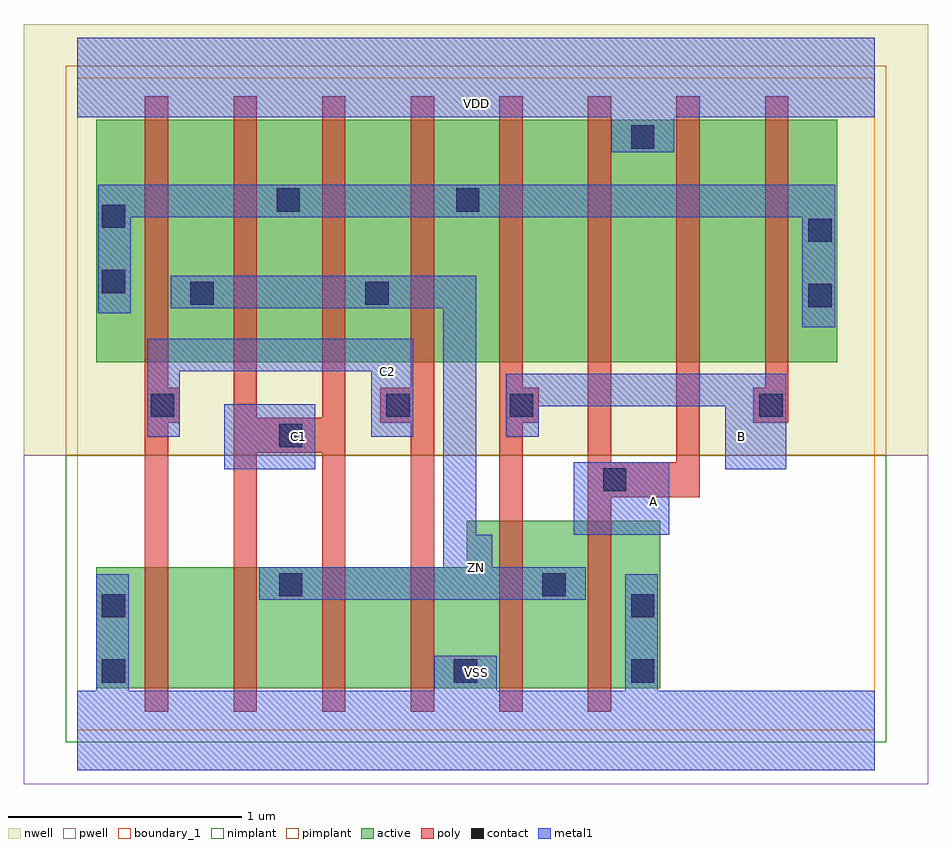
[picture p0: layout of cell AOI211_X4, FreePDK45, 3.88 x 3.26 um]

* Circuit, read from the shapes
.subckt AOI211_X4 A B C1 C2 VDD VSS ZN
M1 n1 C2 VSS VSUBS nfet w=0.52u l=0.1u
M2 ZN C1 n1 VSUBS nfet w=0.52u l=0.1u
M3 n2 C1 ZN VSUBS nfet w=0.52u l=0.1u
M4 VSS C2 n2 VSUBS nfet w=0.52u l=0.1u
M5 ZN B VSS VSUBS nfet w=0.72u l=0.1u
M6 VSS A ZN VSUBS nfet w=0.72u l=0.1u
M7 ZN C2 n3 n4 pfet w=1.04u l=0.1u m=2
M8 n3 C1 ZN n4 pfet w=1.04u l=0.1u m=2
M9 n5 B n3 n4 pfet w=1.04u l=0.1u
M10 VDD A n5 n4 pfet w=1.04u l=0.1u
M11 n6 A VDD n4 pfet w=1.04u l=0.1u
M12 n3 B n6 n4 pfet w=1.04u l=0.1u
.ends

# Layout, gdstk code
import gdstk
lib = gdstk.Library(unit=1e-6, precision=1e-09)
def R(c, l, rs):  # rectangles x0, y0, x1, y1
    for r in rs: c.add(gdstk.rectangle(r[:2], r[2:], *l))
def P(c, l, *ps):  # polygons
    for p in ps: c.add(gdstk.Polygon(p, *l))
active = (1, 0)
pwell = (2, 0)
nwell = (3, 0)
nimplant = (4, 0)
pimplant = (5, 0)
poly = (9, 0)
contact = (10, 0)
metal1 = (11, 0)
boundary_1 = (235, 1)

aoi211_x4 = lib.new_cell('AOI211_X4')
R(aoi211_x4, active, [(0.08,1.58,3.26,2.62)])
P(aoi211_x4, active, [(0.08,0.18),(2.5,0.18),(2.5,0.9),(1.67,0.9),(1.67,0.7),(0.08,0.7)])
R(aoi211_x4, pwell, [(-0.23,-0.23,3.65,1.18)])
R(aoi211_x4, nwell, [(-0.23,1.18,3.65,3.03)])
R(aoi211_x4, nimplant, [(-0.05,-0.05,3.47,1.18)])
R(aoi211_x4, pimplant, [(-0.05,1.18,3.47,2.85)])
P(aoi211_x4, poly, [(2.9,1.32),(3.05,1.32),(3.05,2.72),(2.95,2.72),(2.95,1.47),(2.9,1.47)],
  [(2.19,0.08),(2.29,0.08),(2.29,1),(2.67,1),(2.67,2.72),(2.57,2.72),(2.57,1.15),(2.29,1.15),(2.29,2.72),(2.19,2.72)],
  [(1.81,0.08),(1.91,0.08),(1.91,1.32),(1.98,1.32),(1.98,1.47),(1.91,1.47),(1.91,2.72),(1.81,2.72)],
  [(1.3,1.32),(1.43,1.32),(1.43,0.08),(1.53,0.08),(1.53,2.72),(1.43,2.72),(1.43,1.47),(1.3,1.47)],
  [(0.67,0.08),(0.77,0.08),(0.77,1.19),(1.05,1.19),(1.05,0.08),(1.15,0.08),(1.15,2.72),(1.05,2.72),(1.05,1.34),(0.77,1.34),(0.77,2.72),(0.67,2.72)],
  [(0.29,0.08),(0.39,0.08),(0.39,1.32),(0.44,1.32),(0.44,1.47),(0.39,1.47),(0.39,2.72),(0.29,2.72)])
R(aoi211_x4, contact, [(0.105,0.205,0.205,0.305), (1.615,0.205,1.715,0.305), (2.375,0.205,2.475,0.305), (0.105,0.485,0.205,0.585), (2.375,0.485,2.475,0.585), (0.865,0.575,0.965,0.675), (1.995,0.575,2.095,0.675), (2.255,1.025,2.355,1.125), (0.865,1.215,0.965,1.315), (0.315,1.345,0.415,1.445), (1.325,1.345,1.425,1.445), (1.855,1.345,1.955,1.445), (2.925,1.345,3.025,1.445), (3.135,1.815,3.235,1.915), (0.485,1.825,0.585,1.925), (1.235,1.825,1.335,1.925), (0.105,1.875,0.205,1.975), (3.135,2.095,3.235,2.195), (0.105,2.155,0.205,2.255), (0.855,2.225,0.955,2.325), (1.625,2.225,1.725,2.325), (2.375,2.495,2.475,2.595)])
R(aoi211_x4, metal1, [(2.13,0.84,2.54,1.15), (2.13,0.84,2.54,1.15), (0.63,1.12,1.02,1.4), (0.63,1.12,1.02,1.4)])
P(aoi211_x4, metal1, [(0.3,1.26),(0.44,1.26),(0.44,1.54),(1.26,1.54),(1.26,1.26),(1.44,1.26),(1.44,1.68),(0.3,1.68)],
  [(0.4,1.81),(1.57,1.81),(1.57,0.7),(0.78,0.7),(0.78,0.56),(2.18,0.56),(2.18,0.7),(1.78,0.7),(1.78,0.84),(1.71,0.84),(1.71,1.95),(0.4,1.95)],
  [(1.84,1.26),(1.98,1.26),(1.98,1.39),(2.78,1.39),(2.78,1.12),(3.04,1.12),(3.04,1.53),(1.84,1.53)],
  [(0,-0.17),(3.42,-0.17),(3.42,0.17),(2.49,0.17),(2.49,0.67),(2.35,0.67),(2.35,0.17),(1.8,0.17),(1.8,0.32),(1.53,0.32),(1.53,0.17),(0.22,0.17),(0.22,0.67),(0.08,0.67),(0.08,0.17),(0,0.17)],
  [(0,2.63),(2.29,2.63),(2.29,2.48),(2.56,2.48),(2.56,2.63),(3.42,2.63),(3.42,2.97),(0,2.97)],
  [(0,2.63),(2.29,2.63),(2.29,2.48),(2.56,2.48),(2.56,2.63),(3.42,2.63),(3.42,2.97),(0,2.97)],
  [(0,-0.17),(3.42,-0.17),(3.42,0.17),(2.49,0.17),(2.49,0.67),(2.35,0.67),(2.35,0.17),(1.8,0.17),(1.8,0.32),(1.53,0.32),(1.53,0.17),(0.22,0.17),(0.22,0.67),(0.08,0.67),(0.08,0.17),(0,0.17)],
  [(0.09,1.79),(0.23,1.79),(0.23,2.2),(3.11,2.2),(3.11,1.73),(3.25,1.73),(3.25,2.34),(0.09,2.34)],
  [(1.84,1.26),(1.98,1.26),(1.98,1.39),(2.78,1.39),(2.78,1.12),(3.04,1.12),(3.04,1.53),(1.84,1.53)],
  [(0.4,1.81),(1.57,1.81),(1.57,0.7),(0.78,0.7),(0.78,0.56),(2.18,0.56),(2.18,0.7),(1.78,0.7),(1.78,0.84),(1.71,0.84),(1.71,1.95),(0.4,1.95)],
  [(0.3,1.26),(0.44,1.26),(0.44,1.54),(1.26,1.54),(1.26,1.26),(1.44,1.26),(1.44,1.68),(0.3,1.68)])
R(aoi211_x4, boundary_1, [(0,0,3.42,2.8)])
aoi211_x4.add(gdstk.Label('ZN', (1.71,0.7), layer=11, texttype=0))
aoi211_x4.add(gdstk.Label('VSS', (1.71,0.25), layer=11, texttype=0))
aoi211_x4.add(gdstk.Label('VDD', (1.71,2.69), layer=11, texttype=0))
aoi211_x4.add(gdstk.Label('C2', (1.33,1.54), layer=11, texttype=0))
aoi211_x4.add(gdstk.Label('C1', (0.95,1.26), layer=11, texttype=0))
aoi211_x4.add(gdstk.Label('B', (2.85,1.26), layer=11, texttype=0))
aoi211_x4.add(gdstk.Label('A', (2.47,0.98), layer=11, texttype=0))

lib.write_gds('AOI211_X4.gds')
